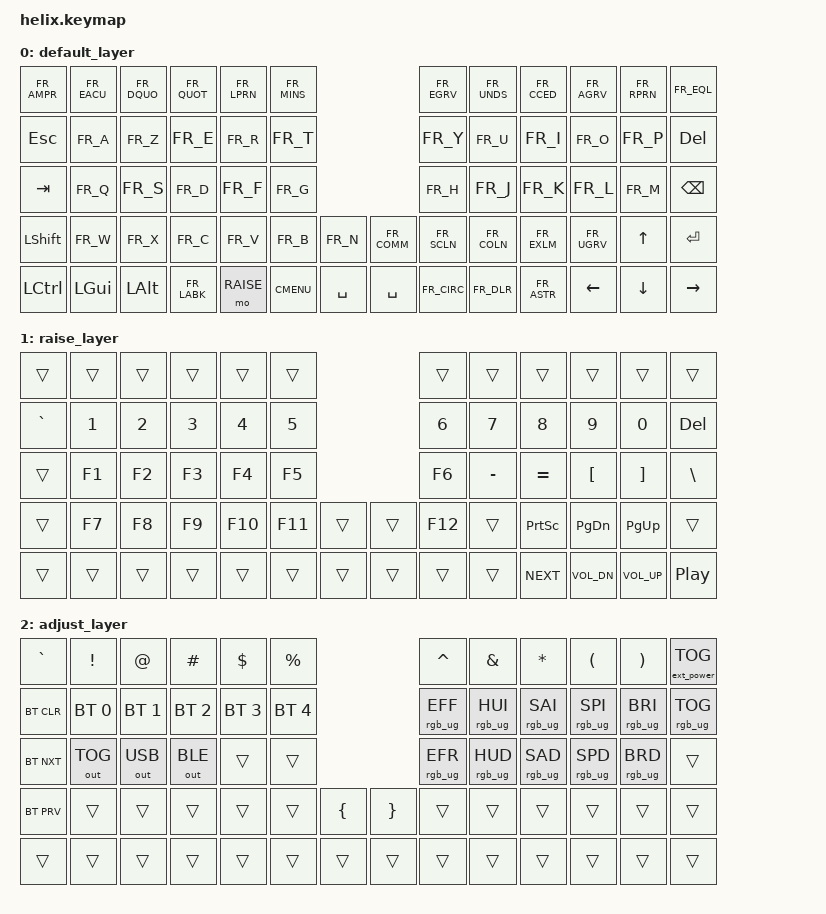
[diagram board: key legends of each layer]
/*
 * Copyright (c) 2020 The ZMK Contributors
 *
 * SPDX-License-Identifier: MIT
 */

#include <behaviors.dtsi>
#include <dt-bindings/zmk/keys.h>
#include <dt-bindings/zmk/bt.h>
#include <dt-bindings/zmk/rgb.h>
#include <dt-bindings/zmk/ext_power.h>
#include <dt-bindings/zmk/outputs.h>
#include "keymap_french.h"
#include "zmk-helpers/helper.h"
#include "french_unicode.dtsi"

#define DEFAULT 0
#define RAISE  1
#define ADJUST 2

/* NOTE: At the time of the creation of this keymap, there are no specified codes for 'eisuu' and 'kana' input in ZMK.
However, 'LANG1' and 'LANG2' are fully-functioning candidates for 'kana' and 'eisuu' input respectively.
As such, those are in use within the default layer at this time.*/

/ {
       keymap {
              compatible = "zmk,keymap";

              default_layer {
 // ---------------------------------------------------------------------------------------------------------------------------------
 // |  &     |   é    |   "    |   '   |   ( |   -    |                                      |   è    |   _    |   ç    |   à    |   )    |   =    |
 // |  ESC   |   A    |   Z    |   E   |   R |   T    |                                      |   Y    |   U    |   I    |   O    |   P    |  DEL   |
 // |  TAB   |   A    |   S    |   D   |   F |   G    |                                      |   H    |   J    |   K    |   L    |   M    |  BKSP  |
 // |  SHIFT |   W    |   X    |   C   |   V |   B    |   N    |                    |   ,    |   ;    |   :    |   !    |   ù    |   UP   |  RET   |
 // |  CTRL  |  WIN   |  ALT   |  <    | LUP | MENU   | SPACE  |                    |  SPACE |   ^    |   $    |   *    |  LEFT  |   DOWN |  RIGHT |
                     bindings = <
       &kp FR_AMPR  &kp FR_EACU  &kp FR_DQUO &kp FR_QUOT &kp FR_LPRN &kp FR_MINS                              &kp FR_EGRV  &kp FR_UNDS   &kp FR_CCED  &kp FR_AGRV    &kp FR_RPRN  &kp FR_EQL
       &kp ESC      &kp FR_A     &kp FR_Z    &kp FR_E    &kp FR_R    &kp FR_T                                 &kp FR_Y     &kp FR_U      &kp FR_I     &kp FR_O       &kp FR_P     &kp DEL
       &kp TAB      &kp FR_Q     &kp FR_S    &kp FR_D    &kp FR_F    &kp FR_G                                 &kp FR_H     &kp FR_J      &kp FR_K     &kp FR_L       &kp FR_M     &kp BKSP
       &kp LSHFT    &kp FR_W     &kp FR_X    &kp FR_C    &kp FR_V    &kp FR_B    &kp FR_N         &kp FR_COMM &kp FR_SCLN  &kp FR_COLN   &kp FR_EXLM  &kp FR_UGRV    &kp UP       &kp RET
       &kp LCTRL    &kp LGUI     &kp LALT    &kp FR_LABK &mo RAISE   &kp K_CMENU &kp SPACE        &kp SPACE   &kp FR_CIRC  &kp FR_DLR    &kp FR_ASTR  &kp LEFT       &kp DOWN     &kp RIGHT >;
              };
              raise_layer {
 // ---------------------------------------------------------------------------------------------------------------------------------
 // |       |       |       |       |       |       |                                    |       |       |       |       |       |       |
 // |   `   |   1   |   2   |   3   |   4   |   5   |                                    |   6   |   7   |   8   |   9   |   0   |  DEL  |
 // |       |  F1   |  F2   |  F3   |  F4   |  F5   |                                    |  F6   |   -   |   =   |   [   |   ]   |   \   |
 // |       |  F7   |  F8   |  F9   |  F10  |  F11  |       |                    |       |  F12  |       | PSCRN | PG_DN | PG_UP |       |
 // |       |       |       |       |       |       |       |                    |       |       |       | NEXT  | VOL-  | VOL+  | PLAY  |
                     bindings = <
       &trans    &trans &trans &trans &trans  &trans                       &trans  &trans    &trans     &trans       &trans       &trans
       &kp GRAVE &kp N1 &kp N2 &kp N3 &kp N4  &kp N5                       &kp N6  &kp N7    &kp N8     &kp N9       &kp N0       &kp DEL
       &trans    &kp F1 &kp F2 &kp F3 &kp F4  &kp F5                       &kp F6  &kp MINUS &kp EQUAL  &kp LBKT     &kp RBKT     &kp BSLH
       &trans    &kp F7 &kp F8 &kp F9 &kp F10 &kp F11 &trans        &trans &kp F12 &trans    &kp PSCRN  &kp PG_DN    &kp PG_UP    &trans
       &trans    &trans &trans &trans &trans  &trans  &trans        &trans &trans  &trans    &kp C_NEXT &kp C_VOL_DN &kp C_VOL_UP &kp C_PP
                     >;
              };
              adjust_layer {
 // ---------------------------------------------------------------------------------------------------------------------------------
 // |    `     |    !     |    @     |    #     |    $     |    %     |                                          |    ^     |    &     |    *     |    (     |    )     |  EP TOG  |
 // |  BT CLR  | BT SEL0  | BT SEL1  | BT SEL2  | BGT SEL3 | BT SEL4  |                                          | RGB EFF+ | RGB HUE+ | RGB SAT+ | RGB SPD+ | RGB BRI+ | RGB TOG  |
 // |  BT NXT  | OUT TOG  | OUT USB  | OUT BLE  |          |          |                                          | RGB EFF- | RGB HUE- | RGB SAT- | RGB SPD- | RGB BRI- |          |
 // |  BT PRV  |          |          |          |          |          |    {     |                    |    }     |          |          |          |          |          |          |
 // |          |          |          |          |          |          |          |                    |          |          |          |          |          |          |          |
                     bindings = <
       &kp GRAVE  &kp EXCL     &kp AT       &kp HASH     &kp DLLR     &kp PRCNT                             &kp CARET       &kp AMPS        &kp ASTRK       &kp LPAR        &kp RPAR        &ext_power EP_TOG
       &bt BT_CLR &bt BT_SEL 0 &bt BT_SEL 1 &bt BT_SEL 2 &bt BT_SEL 3 &bt BT_SEL 4                          &rgb_ug RGB_EFF &rgb_ug RGB_HUI &rgb_ug RGB_SAI &rgb_ug RGB_SPI &rgb_ug RGB_BRI &rgb_ug RGB_TOG
       &bt BT_NXT &out OUT_TOG &out OUT_USB &out OUT_BLE &trans       &trans                                &rgb_ug RGB_EFR &rgb_ug RGB_HUD &rgb_ug RGB_SAD &rgb_ug RGB_SPD &rgb_ug RGB_BRD &trans
       &bt BT_PRV &trans       &trans       &trans       &trans       &trans       &kp LBRC        &kp RBRC &trans          &trans          &trans          &trans          &trans          &trans
       &trans     &trans       &trans       &trans       &trans       &trans       &trans          &trans   &trans          &trans          &trans          &trans          &trans          &trans
                     >;
              };
       };
};
